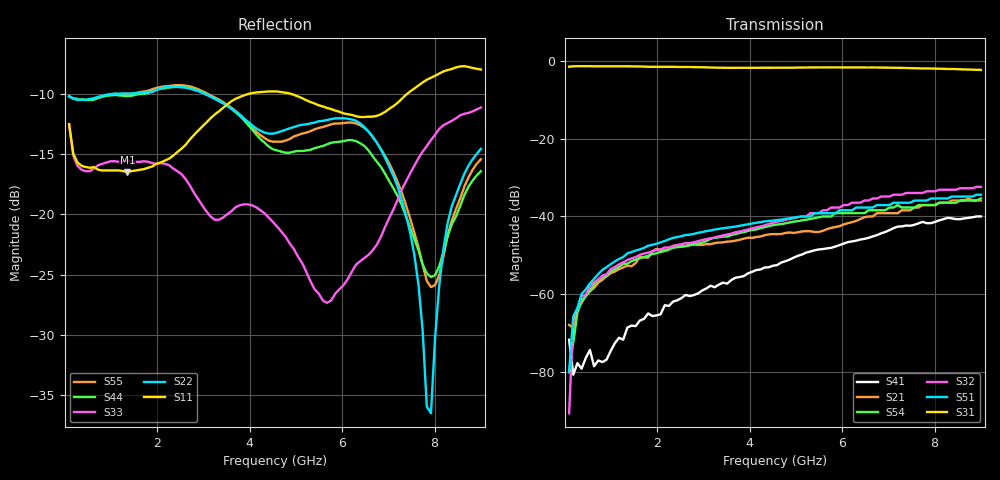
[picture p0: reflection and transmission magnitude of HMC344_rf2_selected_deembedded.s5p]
!Hittite Microwave Corporation
!12 Elizabeth Drive
!Chelmsford, MA 01824
!Tel: 978-250-3343
!Fax: 978-250-3373
!Device: HMC344, DC-8 GHz GaAs MMIC SP4T Non-Reflective Switch Die
!Misc: Room Temp Vctl=-5V Port1=RFC, Port2=RF1, Port3=RF2, Port4=RF3, Port5=RF4, RF2 ON.
# MHZ S MA R 50
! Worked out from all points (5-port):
!   100 points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, 99.9 MHz to 9 GHz, reference 50 ohm
!   strongest paths, dB at 99.9 MHz, 2.347 GHz, 4.595 GHz, 6.842 GHz, 9 GHz:
!     S31: -1.6, -1.6, -1.8, -1.8, -2.4
!     S51: -80.1, -45.5, -40.9, -37.1, -34.4
!     S32: -90.5, -47.6, -41.4, -34.9, -32.4
!     S54: -79.7, -48.1, -42.1, -38.4, -35.4
!     S21: -67.8, -47.5, -44.5, -39.2, -35.9
!     S41: -71.7, -61.9, -52.5, -44.3, -40.0
!   lowest |S11| = -16.5 dB at 1.359 GHz (marker M1), VSWR 1.35, Z = 53.7 - j15.3 ohm
!   |S11| at or under -10 dB: start of sweep to 4.002 GHz; 4.882 GHz to 7.411 GHz (2.529 GHz wide, 41.1 % of centre)
